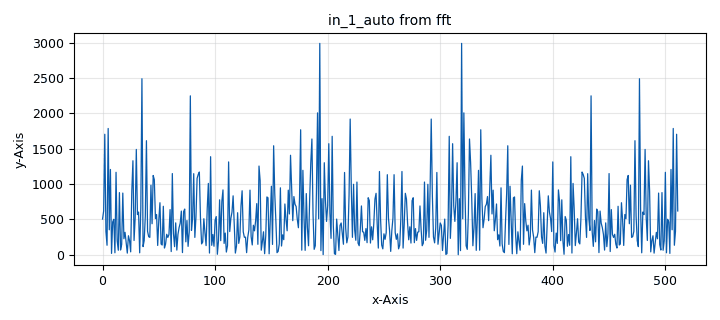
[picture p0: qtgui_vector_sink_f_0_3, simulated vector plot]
<?xml version='1.0' encoding='utf-8'?>
<?grc format='1' created='3.7.12'?>
<flow_graph>
<block>
<key>options</key>
<param><key>id</key><value>testing</value></param>
<param><key>category</key><value>Custom</value></param>
<param><key>description</key><value>test</value></param>
<param><key>generate_options</key><value>qt_gui</value></param>
<param><key>title</key><value>testing</value></param>
</block>
<block>
<key>variable</key>
<param><key>id</key><value>n_inputs</value></param>
<param><key>value</key><value>2</value></param>
</block>
<block>
<key>variable</key>
<param><key>id</key><value>n_pairs</value></param>
<param><key>value</key><value>(n_inputs+1)*n_inputs/2</value></param>
</block>
<block>
<key>variable</key>
<param><key>id</key><value>vec_length</value></param>
<param><key>value</key><value>512</value></param>
</block>
<block>
<key>analog_const_source_x</key>
<param><key>id</key><value>analog_const_source_x_0_3</value></param>
<param><key>const</key><value>0</value></param>
<param><key>type</key><value>float</value></param>
</block>
<block>
<key>analog_noise_source_x</key>
<param><key>id</key><value>analog_noise_source_x_0</value></param>
<param><key>amp</key><value>1</value></param>
<param><key>noise_type</key><value>analog.GR_GAUSSIAN</value></param>
<param><key>type</key><value>float</value></param>
<param><key>seed</key><value>32</value></param>
</block>
<block>
<key>blocks_complex_to_arg</key>
<param><key>id</key><value>blocks_complex_to_arg_0</value></param>
<param><key>vlen</key><value>vec_length</value></param>
</block>
<block>
<key>blocks_complex_to_arg</key>
<param><key>id</key><value>blocks_complex_to_arg_0_0</value></param>
<param><key>vlen</key><value>vec_length</value></param>
</block>
<block>
<key>blocks_complex_to_arg</key>
<param><key>id</key><value>blocks_complex_to_arg_0_1</value></param>
<param><key>vlen</key><value>vec_length</value></param>
</block>
<block>
<key>blocks_complex_to_mag</key>
<param><key>id</key><value>blocks_complex_to_mag_0</value></param>
<param><key>vlen</key><value>vec_length</value></param>
</block>
<block>
<key>blocks_complex_to_mag</key>
<param><key>id</key><value>blocks_complex_to_mag_0_0</value></param>
<param><key>vlen</key><value>vec_length</value></param>
</block>
<block>
<key>blocks_complex_to_mag</key>
<param><key>id</key><value>blocks_complex_to_mag_0_0_0</value></param>
<param><key>vlen</key><value>vec_length</value></param>
</block>
<block>
<key>blocks_complex_to_mag_squared</key>
<param><key>id</key><value>blocks_complex_to_mag_squared_0_2</value></param>
<param><key>vlen</key><value>vec_length</value></param>
</block>
<block>
<key>blocks_delay</key>
<param><key>id</key><value>blocks_delay_0</value></param>
<param><key>delay</key><value>16</value></param>
<param><key>type</key><value>complex</value></param>
</block>
<block>
<key>blocks_float_to_complex</key>
<param><key>id</key><value>blocks_float_to_complex_1_0</value></param>
</block>
<block>
<key>blocks_stream_to_vector</key>
<param><key>id</key><value>blocks_stream_to_vector_0_0_0</value></param>
<param><key>type</key><value>complex</value></param>
<param><key>num_items</key><value>vec_length</value></param>
</block>
<block>
<key>blocks_stream_to_vector</key>
<param><key>id</key><value>blocks_stream_to_vector_0_0_0_1</value></param>
<param><key>type</key><value>complex</value></param>
<param><key>num_items</key><value>vec_length</value></param>
</block>
<block>
<key>blocks_throttle</key>
<param><key>id</key><value>blocks_throttle_0</value></param>
<param><key>samples_per_second</key><value>vec_length*16</value></param>
<param><key>type</key><value>complex</value></param>
</block>
<block>
<key>blocks_vector_to_streams</key>
<param><key>id</key><value>blocks_vector_to_streams_0</value></param>
<param><key>type</key><value>complex</value></param>
<param><key>num_streams</key><value>3</value></param>
<param><key>vlen</key><value>vec_length</value></param>
</block>
<block>
<key>fft_vxx</key>
<param><key>id</key><value>fft_vxx_0</value></param>
<param><key>fft_size</key><value>vec_length</value></param>
<param><key>forward</key><value>True</value></param>
<param><key>type</key><value>complex</value></param>
<param><key>shift</key><value>True</value></param>
<param><key>window</key><value>window.rectangular(vec_length)</value></param>
</block>
<block>
<key>fft_vxx</key>
<param><key>id</key><value>fft_vxx_0_0</value></param>
<param><key>fft_size</key><value>vec_length</value></param>
<param><key>forward</key><value>True</value></param>
<param><key>type</key><value>complex</value></param>
<param><key>shift</key><value>True</value></param>
<param><key>window</key><value>window.rectangular(vec_length)</value></param>
</block>
<block>
<key>import</key>
<param><key>id</key><value>import_0</value></param>
<param><key>import</key><value>import numpy as np</value></param>
</block>
<block>
<key>qtgui_vector_sink_f</key>
<param><key>id</key><value>qtgui_vector_sink_f_0</value></param>
<param><key>autoscale</key><value>True</value></param>
<param><key>gui_hint</key><value>:[1,0]</value></param>
<param><key>name</key><value>"in_1_auto"</value></param>
<param><key>showports</key><value>True</value></param>
<param><key>update_time</key><value>0.2</value></param>
<param><key>vlen</key><value>vec_length</value></param>
<param><key>x_start</key><value>0</value></param>
<param><key>x_step</key><value>1.0</value></param>
</block>
<block>
<key>qtgui_vector_sink_f</key>
<param><key>id</key><value>qtgui_vector_sink_f_0_0</value></param>
<param><key>autoscale</key><value>True</value></param>
<param><key>gui_hint</key><value>:[2,0]</value></param>
<param><key>name</key><value>"in1_auto_phase should_be_zero"</value></param>
<param><key>showports</key><value>True</value></param>
<param><key>update_time</key><value>0.2</value></param>
<param><key>vlen</key><value>vec_length</value></param>
<param><key>x_start</key><value>0</value></param>
<param><key>x_step</key><value>1.0</value></param>
</block>
<block>
<key>qtgui_vector_sink_f</key>
<param><key>id</key><value>qtgui_vector_sink_f_0_0_0</value></param>
<param><key>autoscale</key><value>True</value></param>
<param><key>gui_hint</key><value>:[6,0]</value></param>
<param><key>name</key><value>"in 2 phase should be zero"</value></param>
<param><key>showports</key><value>True</value></param>
<param><key>update_time</key><value>0.2</value></param>
<param><key>vlen</key><value>vec_length</value></param>
<param><key>x_start</key><value>0</value></param>
<param><key>x_step</key><value>1.0</value></param>
</block>
<block>
<key>qtgui_vector_sink_f</key>
<param><key>id</key><value>qtgui_vector_sink_f_0_0_1</value></param>
<param><key>autoscale</key><value>True</value></param>
<param><key>gui_hint</key><value>:[4,0]</value></param>
<param><key>name</key><value>"cross_phase"</value></param>
<param><key>showports</key><value>True</value></param>
<param><key>update_time</key><value>0.2</value></param>
<param><key>vlen</key><value>vec_length</value></param>
<param><key>x_start</key><value>0</value></param>
<param><key>x_step</key><value>1.0</value></param>
</block>
<block>
<key>qtgui_vector_sink_f</key>
<param><key>id</key><value>qtgui_vector_sink_f_0_1</value></param>
<param><key>autoscale</key><value>True</value></param>
<param><key>gui_hint</key><value>:[5,0]</value></param>
<param><key>name</key><value>"in2 mag"</value></param>
<param><key>showports</key><value>True</value></param>
<param><key>update_time</key><value>0.2</value></param>
<param><key>vlen</key><value>vec_length</value></param>
<param><key>x_start</key><value>0</value></param>
<param><key>x_step</key><value>1.0</value></param>
</block>
<block>
<key>qtgui_vector_sink_f</key>
<param><key>id</key><value>qtgui_vector_sink_f_0_2</value></param>
<param><key>autoscale</key><value>True</value></param>
<param><key>gui_hint</key><value>:[3,0]</value></param>
<param><key>name</key><value>"cross_mag"</value></param>
<param><key>showports</key><value>True</value></param>
<param><key>update_time</key><value>0.2</value></param>
<param><key>vlen</key><value>vec_length</value></param>
<param><key>x_start</key><value>0</value></param>
<param><key>x_step</key><value>1.0</value></param>
</block>
<block>
<key>qtgui_vector_sink_f</key>
<param><key>id</key><value>qtgui_vector_sink_f_0_3</value></param>
<param><key>autoscale</key><value>True</value></param>
<param><key>gui_hint</key><value>:[0,0]</value></param>
<param><key>name</key><value>"in_1_auto from fft"</value></param>
<param><key>showports</key><value>True</value></param>
<param><key>update_time</key><value>0.2</value></param>
<param><key>vlen</key><value>vec_length</value></param>
<param><key>x_start</key><value>0</value></param>
<param><key>x_step</key><value>1.0</value></param>
</block>
<block>
<key>radio_astro_correlate</key>
<param><key>id</key><value>radio_astro_correlate_0</value></param>
<param><key>n_inputs</key><value>n_inputs</value></param>
<param><key>vec_length</key><value>vec_length</value></param>
</block>
<connection><source_block_id>analog_const_source_x_0_3</source_block_id><sink_block_id>blocks_float_to_complex_1_0</sink_block_id><source_key>0</source_key><sink_key>1</sink_key></connection>
<connection><source_block_id>analog_noise_source_x_0</source_block_id><sink_block_id>blocks_float_to_complex_1_0</sink_block_id><source_key>0</source_key><sink_key>0</sink_key></connection>
<connection><source_block_id>blocks_complex_to_arg_0</source_block_id><sink_block_id>qtgui_vector_sink_f_0_0</sink_block_id><source_key>0</source_key><sink_key>0</sink_key></connection>
<connection><source_block_id>blocks_complex_to_arg_0_0</source_block_id><sink_block_id>qtgui_vector_sink_f_0_0_0</sink_block_id><source_key>0</source_key><sink_key>0</sink_key></connection>
<connection><source_block_id>blocks_complex_to_arg_0_1</source_block_id><sink_block_id>qtgui_vector_sink_f_0_0_1</sink_block_id><source_key>0</source_key><sink_key>0</sink_key></connection>
<connection><source_block_id>blocks_complex_to_mag_0</source_block_id><sink_block_id>qtgui_vector_sink_f_0</sink_block_id><source_key>0</source_key><sink_key>0</sink_key></connection>
<connection><source_block_id>blocks_complex_to_mag_0_0</source_block_id><sink_block_id>qtgui_vector_sink_f_0_1</sink_block_id><source_key>0</source_key><sink_key>0</sink_key></connection>
<connection><source_block_id>blocks_complex_to_mag_0_0_0</source_block_id><sink_block_id>qtgui_vector_sink_f_0_2</sink_block_id><source_key>0</source_key><sink_key>0</sink_key></connection>
<connection><source_block_id>blocks_complex_to_mag_squared_0_2</source_block_id><sink_block_id>qtgui_vector_sink_f_0_3</sink_block_id><source_key>0</source_key><sink_key>0</sink_key></connection>
<connection><source_block_id>blocks_delay_0</source_block_id><sink_block_id>blocks_stream_to_vector_0_0_0_1</sink_block_id><source_key>0</source_key><sink_key>0</sink_key></connection>
<connection><source_block_id>blocks_float_to_complex_1_0</source_block_id><sink_block_id>blocks_throttle_0</sink_block_id><source_key>0</source_key><sink_key>0</sink_key></connection>
<connection><source_block_id>blocks_stream_to_vector_0_0_0</source_block_id><sink_block_id>fft_vxx_0</sink_block_id><source_key>0</source_key><sink_key>0</sink_key></connection>
<connection><source_block_id>blocks_stream_to_vector_0_0_0_1</source_block_id><sink_block_id>fft_vxx_0_0</sink_block_id><source_key>0</source_key><sink_key>0</sink_key></connection>
<connection><source_block_id>blocks_throttle_0</source_block_id><sink_block_id>blocks_delay_0</sink_block_id><source_key>0</source_key><sink_key>0</sink_key></connection>
<connection><source_block_id>blocks_throttle_0</source_block_id><sink_block_id>blocks_stream_to_vector_0_0_0</sink_block_id><source_key>0</source_key><sink_key>0</sink_key></connection>
<connection><source_block_id>blocks_vector_to_streams_0</source_block_id><sink_block_id>blocks_complex_to_arg_0</sink_block_id><source_key>0</source_key><sink_key>0</sink_key></connection>
<connection><source_block_id>blocks_vector_to_streams_0</source_block_id><sink_block_id>blocks_complex_to_mag_0</sink_block_id><source_key>0</source_key><sink_key>0</sink_key></connection>
<connection><source_block_id>blocks_vector_to_streams_0</source_block_id><sink_block_id>blocks_complex_to_arg_0_1</sink_block_id><source_key>1</source_key><sink_key>0</sink_key></connection>
<connection><source_block_id>blocks_vector_to_streams_0</source_block_id><sink_block_id>blocks_complex_to_mag_0_0_0</sink_block_id><source_key>1</source_key><sink_key>0</sink_key></connection>
<connection><source_block_id>blocks_vector_to_streams_0</source_block_id><sink_block_id>blocks_complex_to_arg_0_0</sink_block_id><source_key>2</source_key><sink_key>0</sink_key></connection>
<connection><source_block_id>blocks_vector_to_streams_0</source_block_id><sink_block_id>blocks_complex_to_mag_0_0</sink_block_id><source_key>2</source_key><sink_key>0</sink_key></connection>
<connection><source_block_id>fft_vxx_0</source_block_id><sink_block_id>blocks_complex_to_mag_squared_0_2</sink_block_id><source_key>0</source_key><sink_key>0</sink_key></connection>
<connection><source_block_id>fft_vxx_0</source_block_id><sink_block_id>radio_astro_correlate_0</sink_block_id><source_key>0</source_key><sink_key>0</sink_key></connection>
<connection><source_block_id>fft_vxx_0_0</source_block_id><sink_block_id>radio_astro_correlate_0</sink_block_id><source_key>0</source_key><sink_key>1</sink_key></connection>
<connection><source_block_id>radio_astro_correlate_0</source_block_id><sink_block_id>blocks_vector_to_streams_0</sink_block_id><source_key>0</source_key><sink_key>0</sink_key></connection>
</flow_graph>
